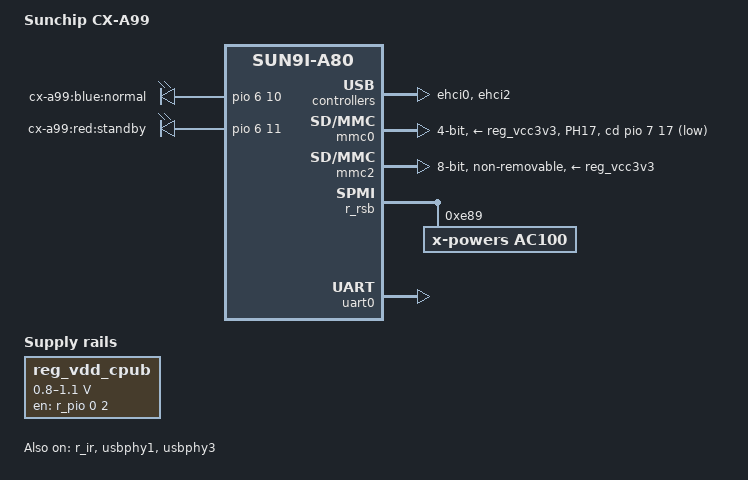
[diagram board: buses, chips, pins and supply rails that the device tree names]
/*
 * sun9i-a80-cx-a99.dts - Device Tree file for the Sunchip CX-A99 board.
 *
 * Copyright (C) 2016 Rask Ingemann Lamberten <ccc94453@vip.cybercity.dk>
 *
 * This file is dual-licensed: you can use it either under the terms
 * of the GPL or the X11 license, at your option. Note that this dual
 * licensing only applies to this file, and not this project as a
 * whole.
 *
 *  a) This file is free software; you can redistribute it and/or
 *     modify it under the terms of the GNU General Public License as
 *     published by the Free Software Foundation; either version 2 of the
 *     License, or (at your option) any later version.
 *
 *     This file is distributed in the hope that it will be useful,
 *     but WITHOUT ANY WARRANTY; without even the implied warranty of
 *     MERCHANTABILITY or FITNESS FOR A PARTICULAR PURPOSE.  See the
 *     GNU General Public License for more details.
 *
 * Or, alternatively,
 *
 *  b) Permission is hereby granted, free of charge, to any person
 *     obtaining a copy of this software and associated documentation
 *     files (the "Software"), to deal in the Software without
 *     restriction, including without limitation the rights to use,
 *     copy, modify, merge, publish, distribute, sublicense, and/or
 *     sell copies of the Software, and to permit persons to whom the
 *     Software is furnished to do so, subject to the following
 *     conditions:
 *
 *     The above copyright notice and this permission notice shall be
 *     included in all copies or substantial portions of the Software.
 *
 *     THE SOFTWARE IS PROVIDED "AS IS", WITHOUT WARRANTY OF ANY KIND,
 *     EXPRESS OR IMPLIED, INCLUDING BUT NOT LIMITED TO THE WARRANTIES
 *     OF MERCHANTABILITY, FITNESS FOR A PARTICULAR PURPOSE AND
 *     NONINFRINGEMENT. IN NO EVENT SHALL THE AUTHORS OR COPYRIGHT
 *     HOLDERS BE LIABLE FOR ANY CLAIM, DAMAGES OR OTHER LIABILITY,
 *     WHETHER IN AN ACTION OF CONTRACT, TORT OR OTHERWISE, ARISING
 *     FROM, OUT OF OR IN CONNECTION WITH THE SOFTWARE OR THE USE OR
 *     OTHER DEALINGS IN THE SOFTWARE.
 */

/* The Sunchip CX-A99 board is found in several similar Android TV box
 * products, such as:
 *
 * Instabox Fantasy A8 (no external antenna)
 * Jesurun CS-Q8 (ships with larger remote control)
 * Jesurun Maxone
 * Rikomagic (RKM) MK80/MK80LE
 * Tronsmart Draco AW80 Meta/Telos
 *
 * See <URL:https://linux-sunxi.org/Sunchip_cx_a99> for more information.
 */

/dts-v1/;
#include "sun9i-a80.dtsi"
#include "sunxi-common-regulators.dtsi"

#include <dt-bindings/gpio/gpio.h>
#include <dt-bindings/pinctrl/sun4i-a10.h>

/ {
	model = "Sunchip CX-A99";
	compatible = "sunchip,cx-a99", "allwinner,sun9i-a80";

	aliases {
		serial0 = &uart0;
	};

	chosen {
		stdout-path = "serial0:115200n8";
	};

	leds {
		compatible = "gpio-leds";
		pinctrl-names = "default";
		pinctrl-0 = <&led_pins_cx_a99>;

		blue {
			gpios = <&pio 6 10 GPIO_ACTIVE_HIGH>;	/* PG10 */
			label = "cx-a99:blue:normal";
			default-state = "on";
		};

		red {
			gpios = <&pio 6 11 GPIO_ACTIVE_HIGH>;	/* PG11 */
			label = "cx-a99:red:standby";
		};
	};

	/* Power supply for the four Cortex-A15 cores. */
	reg_vdd_cpub: oz80120 {
		compatible = "regulator-gpio";
		regulator-name = "vdd-cpub";

		regulator-boot-on;
		regulator-always-on;
		regulator-type = "voltage";
		regulator-min-microvolt = < 800000>;
		regulator-max-microvolt = <1100000>;

		pinctrl-names = "default";
		pinctrl-0 = <&vdd_cpub_r_pins_cx_a99>;
		enable-gpio = <&r_pio 0 2 GPIO_ACTIVE_HIGH>;	/* PL2 */
		enable-active-high;
		gpios = <&r_pio 0 3 GPIO_ACTIVE_HIGH>,		/* PL3 */
			<&r_pio 0 4 GPIO_ACTIVE_HIGH>,		/* PL4 */
			<&r_pio 0 5 GPIO_ACTIVE_HIGH>;		/* PL5 */
		/* There appears to be an external pull-up on PL3. */
		gpios-states = <1 0 0>;
		states = <	 750000 0x7
				 800000 0x3
				 850000 0x5
				 900000 0x1
				 950000 0x6
				1000000 0x2
				1100000 0x4
				1200000 0x0>;
	};
};

&ehci0 {
	status = "okay";
};

&ehci2 {
	status = "okay";
};

&mmc0 {
	pinctrl-names = "default";
	pinctrl-0 = <&mmc0_pins>, <&mmc0_cd_pin_cx_a99>;
	vmmc-supply = <&reg_vcc3v3>;
	bus-width = <4>;
	cd-gpios = <&pio 7 17 GPIO_ACTIVE_LOW>; /* PH17 */
	status = "okay";
};

&mmc2 {
	pinctrl-names = "default";
	pinctrl-0 = <&mmc2_8bit_pins>;
	vmmc-supply = <&reg_vcc3v3>;
	bus-width = <8>;
	non-removable;
	status = "okay";
};

&osc32k {
	clocks = <&ac100_rtc 0>;
};

&pio {
	led_pins_cx_a99: led-pins {
		allwinner,pins = "PG10", "PG11";
		allwinner,function = "gpio_out";
		allwinner,drive = <SUN4I_PINCTRL_10_MA>;
		allwinner,pull = <SUN4I_PINCTRL_NO_PULL>;
	};

	mmc0_cd_pin_cx_a99: mmc0_cd {
		allwinner,pins = "PH17";
		allwinner,function = "gpio_in";
		allwinner,pull = <SUN4I_PINCTRL_PULL_UP>;
	};
};

/* Each GPIO controls VBUS for a port on the GL850G hub connected to ehci0;
 * PL7 for port 1, the USB connector closest to the 12 V power connector, and
 * PL8 for port 2, the USB connector next to the (micro)SD card slot.
 * Note: The regulators are not chained like this in reality, but
 * regulator-fixed doesn't support a gpio list, and allwinner,sun9i-a80-usb-phy
 * doesn't support more than one supply, so this will have to do (for now).
 */
&reg_usb1_vbus {
	pinctrl-0 = <&usb1_vbus_r_pin_cx_a99>;
	gpio = <&r_pio 0 7 GPIO_ACTIVE_HIGH>;	/* PL7 */
	status = "okay";
};

&reg_usb2_vbus {
	pinctrl-0 = <&usb2_vbus_r_pin_cx_a99>;
	gpio = <&r_pio 0 8 GPIO_ACTIVE_HIGH>;	/* PL8 */
	vin-supply = <&reg_usb1_vbus>;
	status = "okay";
};

&r_ir {
	status = "okay";
};

&r_pio {
	usb1_vbus_r_pin_cx_a99: usb0_vbus_pin {
		allwinner,pins = "PL7";
		allwinner,function = "gpio_out";
		allwinner,drive = <SUN4I_PINCTRL_10_MA>;
		allwinner,pull = <SUN4I_PINCTRL_NO_PULL>;
	};

	usb2_vbus_r_pin_cx_a99: usb1_vbus_pin {
		allwinner,pins = "PL8";
		allwinner,function = "gpio_out";
		allwinner,drive = <SUN4I_PINCTRL_10_MA>;
		allwinner,pull = <SUN4I_PINCTRL_NO_PULL>;
	};

	vdd_cpub_r_pins_cx_a99: regulator_r_pins {
		allwinner,pins = "PL2", "PL3", "PL4", "PL5";
		allwinner,function = "gpio_out";
		allwinner,drive = <SUN4I_PINCTRL_10_MA>;
		allwinner,pull = <SUN4I_PINCTRL_NO_PULL>;
	};
};

&r_rsb {
	status = "okay";

	ac100: codec@e89 {
		compatible = "x-powers,ac100";
		reg = <0xe89>;

		ac100_codec: codec {
			compatible = "x-powers,ac100-codec";
			interrupt-parent = <&r_pio>;
			interrupts = <0 9 IRQ_TYPE_LEVEL_LOW>;	/* PL9 */
			#clock-cells = <0>;
			clock-output-names = "4M_adda";
		};

		ac100_rtc: rtc {
			compatible = "x-powers,ac100-rtc";
			interrupt-parent = <&nmi_intc>;
			interrupts = <0 IRQ_TYPE_LEVEL_LOW>;
			clocks = <&ac100_codec>;
			#clock-cells = <1>;
			clock-output-names = "cko1_rtc", "cko2_rtc", "cko3_rtc";
		};
	};
};

/* 5-pin connector opposite of the SD card slot:
 * 1 = GND (pointed to by small triangle), 2 = GND, 3 = 3.3 V, 4 = RX, 5 = TX.
 */
&uart0 {
	pinctrl-names = "default";
	pinctrl-0 = <&uart0_pins_a>;
	status = "okay";
};

/* The port has two V_bus supplies. See workaround at reg_usb1_vbus. */
&usbphy1 {
	phy-supply = <&reg_usb2_vbus>;
	status = "okay";
};

&usbphy3 {
	status = "okay";
};
